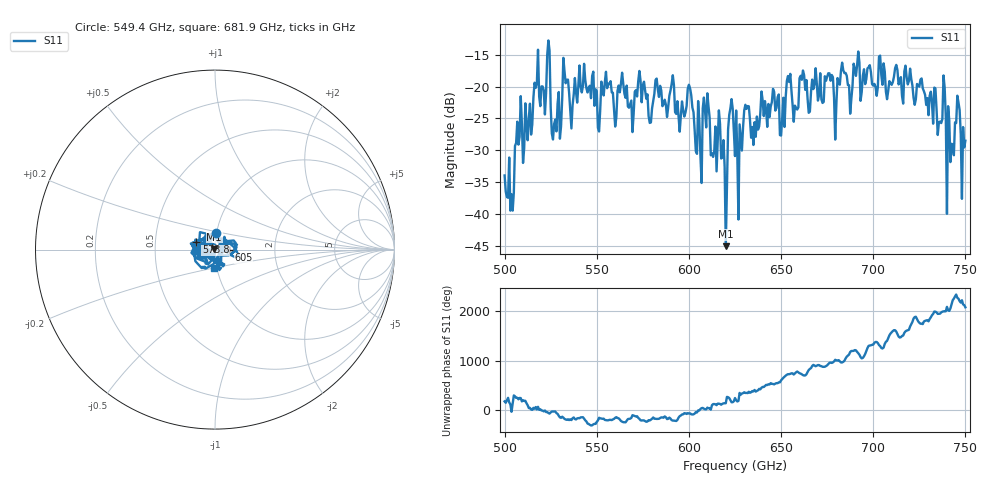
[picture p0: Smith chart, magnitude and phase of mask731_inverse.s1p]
!Created with skrf (http://scikit-rf.org).
# GHz S MA R 50.0
!freq magS11 angS11
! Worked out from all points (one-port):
!   401 points, 500 GHz to 750 GHz, reference 50 ohm
!   lowest |S11| = -45.0 dB at 620 GHz (marker M1), VSWR 1.01, Z = 49.6 + j0.345 ohm
!   |S11| at or under -10 dB: start of sweep to end of sweep
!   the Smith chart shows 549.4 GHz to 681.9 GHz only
!   S11 on the Smith chart (normalised r, x): 549.4 GHz: 1.00, +0.19; 573.8 GHz: 0.81, +0.07; 605 GHz: 1.17, -0.01; 681.9 GHz: 0.97, -0.20
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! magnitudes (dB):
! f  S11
! 500 GHz  -33.9
! 504.4 GHz  -39.4
! 507.5 GHz  -29.1
! 513.8 GHz  -22.7
! 516.9 GHz  -20.2
! 523.8 GHz  -12.8
! 526.9 GHz  -25.8
! 531.2 GHz  -21.9
! 549.4 GHz  -20.4
! 562.5 GHz  -20.9
! 573.8 GHz  -19.1
! 593.8 GHz  -22.3
! 600.6 GHz  -20.3
! 605 GHz  -22.3
! 609.4 GHz  -26.4
! 620 GHz  -45.0
! 622.5 GHz  -23.4
! 625 GHz  -30.9
! 627.5 GHz  -25.9
! 631.2 GHz  -23.5
! 656.2 GHz  -22.9
! 681.9 GHz  -19.7
! 687.5 GHz  -24.3
! 718.8 GHz  -19.7
! 738.1 GHz  -18.3
! 741.2 GHz  -25.3
! 745.6 GHz  -21.4
! 750 GHz  -28.5
